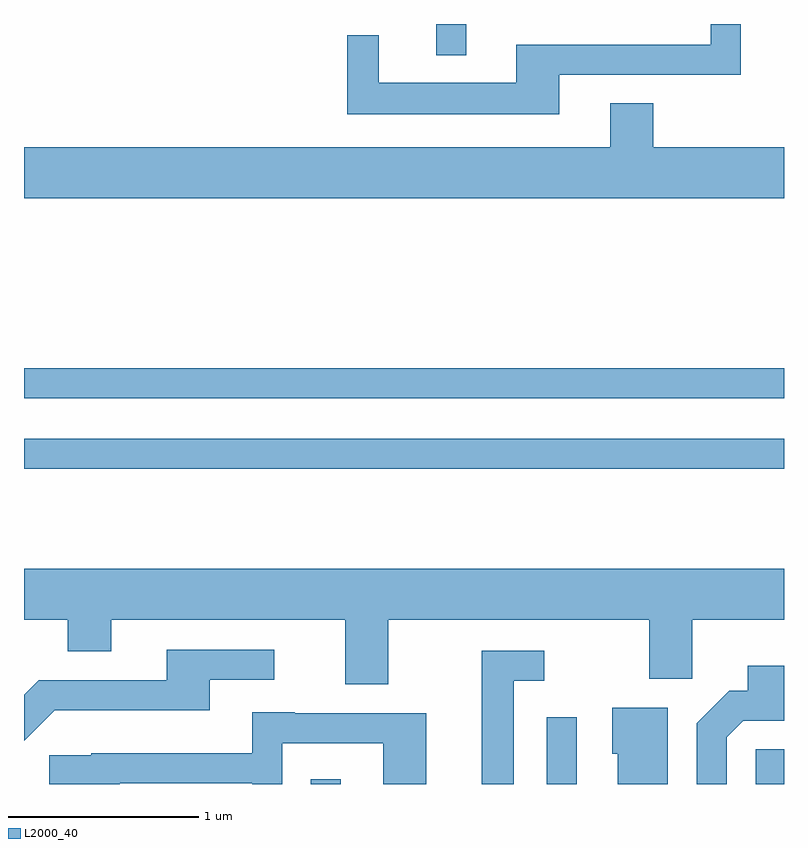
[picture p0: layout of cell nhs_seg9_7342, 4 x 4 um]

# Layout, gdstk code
import gdstk
lib = gdstk.Library(unit=1e-6, precision=1e-09)
def R(c, l, rs):  # rectangles x0, y0, x1, y1
    for r in rs: c.add(gdstk.rectangle(r[:2], r[2:], *l))
def P(c, l, *ps):  # polygons
    for p in ps: c.add(gdstk.Polygon(p, *l))
L2000_40 = (2000, 40)

nhs_seg9_7342 = lib.new_cell('nhs_seg9_7342')
R(nhs_seg9_7342, L2000_40, [(403.121,2066.432,403.279,2066.458), (404.361,2066.432,404.519,2066.783), (405.461,2066.432,405.611,2066.614), (401.611,2068.091,405.611,2068.249), (401.611,2068.461,405.611,2068.619), (403.781,2070.268,403.939,2070.432)])
P(nhs_seg9_7342, L2000_40, [(404.429,2070.166),(405.384,2070.166),(405.384,2070.432),(405.226,2070.432),(405.226,2070.324),(404.201,2070.324),(404.201,2070.124),(403.479,2070.124),(403.479,2070.373),(403.311,2070.373),(403.311,2069.956),(404.429,2069.956)],
  [(405.611,2069.784),(404.924,2069.784),(404.924,2070.014),(404.696,2070.014),(404.696,2069.784),(401.611,2069.784),(401.611,2069.516),(405.611,2069.516)],
  [(403.529,2067.296),(404.901,2067.296),(404.901,2066.986),(405.129,2066.986),(405.129,2067.296),(405.611,2067.296),(405.611,2067.564),(401.611,2067.564),(401.611,2067.296),(401.841,2067.296),(401.841,2067.131),(402.069,2067.131),(402.069,2067.296),(403.301,2067.296),(403.301,2066.956),(403.529,2066.956)],
  [(401.772,2066.821),(402.589,2066.821),(402.589,2066.981),(402.928,2066.981),(402.928,2067.139),(402.361,2067.139),(402.361,2066.979),(401.689,2066.979),(401.611,2066.901),(401.611,2066.66)],
  [(404.189,2066.976),(404.348,2066.976),(404.348,2067.134),(404.021,2067.134),(404.021,2066.432),(404.189,2066.432)],
  [(405.309,2066.679),(405.397,2066.766),(405.611,2066.766),(405.611,2067.054),(405.421,2067.054),(405.421,2066.924),(405.324,2066.924),(405.151,2066.751),(405.151,2066.432),(405.309,2066.432)],
  [(404.999,2066.834),(404.706,2066.834),(404.706,2066.591),(404.736,2066.591),(404.736,2066.432),(404.999,2066.432)],
  [(402.115,2066.436),(402.811,2066.436),(402.811,2066.432),(402.969,2066.432),(402.969,2066.646),(403.501,2066.646),(403.501,2066.432),(403.729,2066.432),(403.729,2066.804),(403.035,2066.804),(403.035,2066.809),(402.811,2066.809),(402.811,2066.594),(401.965,2066.594),(401.965,2066.584),(401.743,2066.584),(401.743,2066.432),(402.115,2066.432)])

lib.write_gds('nhs_seg9_7342.gds')
